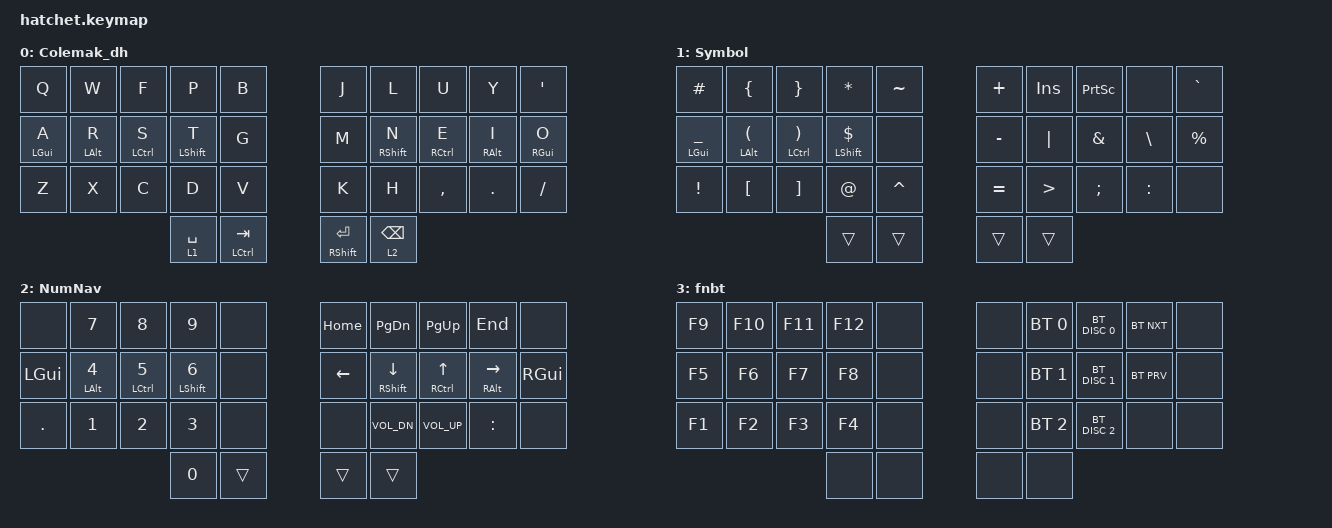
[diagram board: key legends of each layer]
#include <behaviors.dtsi>
#include <dt-bindings/zmk/keys.h>
#include <dt-bindings/zmk/bt.h>

/ {
    behaviors {
        hmr: hmr {
            compatible = "zmk,behavior-hold-tap";
            label = "HMR";
            bindings = <&kp>, <&kp>;

            #binding-cells = <2>;
            tapping-term-ms = <175>;
            quick-tap-ms = <175>;
            flavor = "tap-preferred";
        };

        hmrs: hmrs {
            compatible = "zmk,behavior-hold-tap";
            label = "HMRS";
            bindings = <&kp>, <&kp>;

            #binding-cells = <2>;
            flavor = "tap-preferred";
            tapping-term-ms = <200>;
        };
    };

    combos {
        compatible = "zmk,combos";

        Esc {
            bindings = <&kp ESCAPE>;
            key-positions = <1 2>;
        };

        Delete {
            bindings = <&kp DELETE>;
            key-positions = <27 28>;
        };
	
	bt {
            bindings = <&sl 3>;
            key-positions = <0 9>;
            layers = <0>;
        };
    };

    keymap {
        compatible = "zmk,keymap";

        Colemak_dh {
            bindings = <
                &kp Q             &kp W             &kp F         &kp P         &kp B                     &kp J             &kp L            &kp U         &kp Y         &kp SQT
                &hmrs LEFT_GUI A  &hmrs LEFT_ALT R  &hmr LCTRL S  &hmr LSHFT T  &kp G                     &kp M             &hmr RSHFT N     &hmr RCTRL E  &hmrs RALT I  &hmrs RGUI O
                &kp Z             &kp X             &kp C         &kp D         &kp V                     &kp K             &kp H            &kp COMMA     &kp DOT       &kp SLASH
                                                                  &lt 1 SPACE   &hmr LCTRL TAB            &hmr RSHFT ENTER  &lt 2 BACKSPACE
            >;
        };

        symnum {
            display-name = "Symbol";

            bindings = <
                &kp POUND         &kp LBRC         &kp RBRC         &kp ASTERISK       &kp TILDE            &kp PLUS   &kp INS   &kp PSCRN      &none          &kp GRAVE
                &hmrs LGUI UNDER  &hmrs LALT LPAR  &hmr LCTRL RPAR  &hmr LSHFT DOLLAR  &none                &kp MINUS  &kp PIPE  &kp AMPERSAND  &kp BACKSLASH  &kp PERCENT
                &kp EXCLAMATION   &kp LBKT         &kp RBKT         &kp AT_SIGN        &kp CARET            &kp EQUAL  &kp GT    &kp SEMI       &kp COLON      &none 
                                                         	    &trans             &trans               &trans     &trans
            >;
        };

        fn {
            display-name = "NumNav";

            bindings = <
                &none     &kp N7         &kp N8         &kp N9         &none           &kp HOME  &kp PAGE_DOWN    &kp PG_UP      &kp END           &none
                &kp LGUI  &hmrs LALT N4  &hmr LCTRL N5  &hmr LSHFT N6  &none           &kp LEFT  &hmr RSHFT DOWN  &hmr RCTRL UP  &hmrs RALT RIGHT  &kp RGUI
                &kp DOT   &kp N1         &kp N2         &kp N3         &none           &none     &kp C_VOL_DN     &kp C_VOL_UP   &kp COLON         &none
                                                        &kp N0         &trans          &trans    &trans
            >;
        };

        fnbt {
            display-name = "fnbt";

            bindings = <
                &kp F9  &kp F10  &kp F11  &kp F12  &none        &none  &bt BT_SEL 0  &bt BT_DISC 0  &bt BT_NXT  &none
                &kp F5  &kp F6   &kp F7   &kp F8   &none        &none  &bt BT_SEL 1  &bt BT_DISC 1  &bt BT_PRV  &none
                &kp F1  &kp F2   &kp F3   &kp F4   &none        &none  &bt BT_SEL 2  &bt BT_DISC 2  &none       &none
                                          &none    &none        &none  &none
            >;
        };
    };
 };
